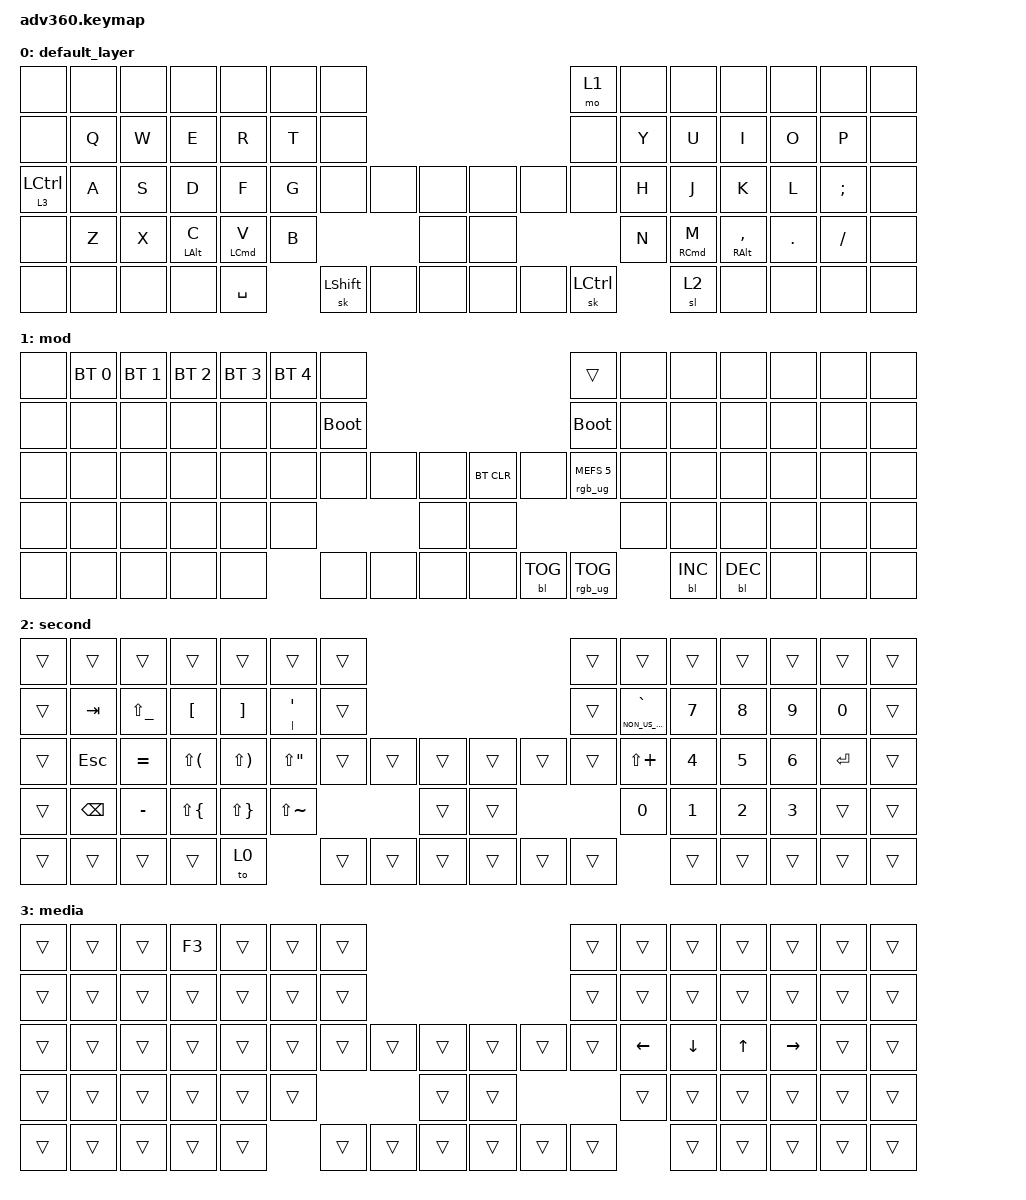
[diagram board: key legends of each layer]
#include <behaviors.dtsi>
#include <dt-bindings/zmk/backlight.h>
#include <dt-bindings/zmk/bt.h>
#include <dt-bindings/zmk/keys.h>
#include <dt-bindings/zmk/rgb.h>

/ {
    behaviors {
        #include "macros.dtsi"

        hm: homerow_mods {
            compatible = "zmk,behavior-hold-tap";
            label = "HOMEROW_MODS";
            #binding-cells = <2>;
            tapping-term-ms = <200>;
            quick_tap_ms = <175>;
            flavor = "tap-preferred";
            bindings = <&kp>, <&kp>;
        };
    };

    keymap {
        compatible = "zmk,keymap";

        default_layer {
            bindings = <
&none        &none  &none  &none           &none       &none  &none                                           &mo 1             &none  &none       &none                &none    &none     &none
&none        &kp Q  &kp W  &kp E           &kp R       &kp T  &none                                           &none             &kp Y  &kp U       &kp I                &kp O    &kp P     &none
&lt 3 LCTRL  &kp A  &kp S  &kp D           &kp F       &kp G  &none           &none  &none      &none  &none  &none             &kp H  &kp J       &kp K                &kp L    &kp SEMI  &none
&none        &kp Z  &kp X  &hm LEFT_ALT C  &hm LCMD V  &kp B                         &none      &none                           &kp N  &hm RCMD M  &hm RIGHT_ALT COMMA  &kp DOT  &kp FSLH  &none
&none        &none  &none  &none           &kp SPACE          &sk LEFT_SHIFT  &none  &none      &none  &none  &sk LEFT_CONTROL         &sl 2       &none                &none    &none     &none
            >;
        };

        mod {
            bindings = <
&none  &bt BT_SEL 0  &bt BT_SEL 1  &bt BT_SEL 2  &bt BT_SEL 3  &bt BT_SEL 4  &none                                                  &trans                  &none  &none       &none       &none  &none  &none
&none  &none         &none         &none         &none         &none         &bootloader                                            &bootloader             &none  &none       &none       &none  &none  &none
&none  &none         &none         &none         &none         &none         &none        &none  &none      &bt BT_CLR  &none       &rgb_ug RGB_MEFS_CMD 5  &none  &none       &none       &none  &none  &none
&none  &none         &none         &none         &none         &none                             &none      &none                                           &none  &none       &none       &none  &none  &none
&none  &none         &none         &none         &none                       &none        &none  &none      &none       &bl BL_TOG  &rgb_ug RGB_TOG                &bl BL_INC  &bl BL_DEC  &none  &none  &none
            >;
        };

        second {
            bindings = <
&trans  &trans    &trans         &trans        &trans        &trans         &trans                                      &trans  &trans                      &trans  &trans  &trans  &trans     &trans
&trans  &kp TAB   &kp LS(UNDER)  &kp LBKT      &kp RBKT      &mt PIPE SQT   &trans                                      &trans  &mt NON_US_BACKSLASH GRAVE  &kp N7  &kp N8  &kp N9  &kp N0     &trans
&trans  &kp ESC   &kp EQUAL      &kp LS(LPAR)  &kp LS(RPAR)  &kp LS(DQT)    &trans  &trans  &trans      &trans  &trans  &trans  &kp LS(PLUS)                &kp N4  &kp N5  &kp N6  &kp ENTER  &trans
&trans  &kp BSPC  &kp MINUS      &kp LS(LBRC)  &kp LS(RBRC)  &kp LS(TILDE)                  &trans      &trans                  &kp N0                      &kp N1  &kp N2  &kp N3  &trans     &trans
&trans  &trans    &trans         &trans        &to 0                        &trans  &trans  &trans      &trans  &trans  &trans                              &trans  &trans  &trans  &trans     &trans
            >;
        };

        media {
            bindings = <
&trans  &trans  &trans  &kp F3  &trans  &trans  &trans                                      &trans  &trans          &trans    &trans        &trans     &trans  &trans
&trans  &trans  &trans  &trans  &trans  &trans  &trans                                      &trans  &trans          &trans    &trans        &trans     &trans  &trans
&trans  &trans  &trans  &trans  &trans  &trans  &trans  &trans  &trans      &trans  &trans  &trans  &kp LEFT_ARROW  &kp DOWN  &kp UP_ARROW  &kp RIGHT  &trans  &trans
&trans  &trans  &trans  &trans  &trans  &trans                  &trans      &trans                  &trans          &trans    &trans        &trans     &trans  &trans
&trans  &trans  &trans  &trans  &trans          &trans  &trans  &trans      &trans  &trans  &trans                  &trans    &trans        &trans     &trans  &trans
            >;
        };
    };
};
